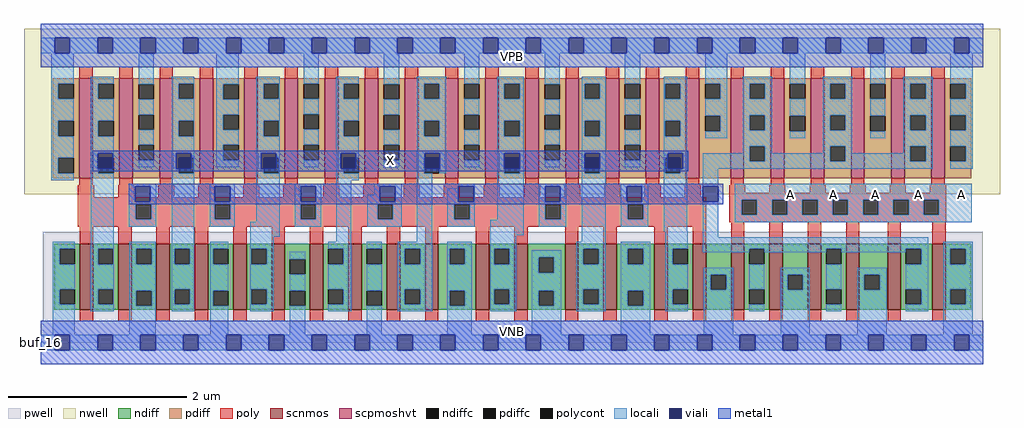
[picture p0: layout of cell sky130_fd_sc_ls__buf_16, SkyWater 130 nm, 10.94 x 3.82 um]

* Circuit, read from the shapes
.subckt sky130_fd_sc_ls__buf_16 A VGND VNB VPB VPWR X
XM1 X n1 VGND VNB sky130_fd_pr__nfet_01v8 w=0.74 l=0.15 m=16
XM2 n1 A VGND VNB sky130_fd_pr__nfet_01v8 w=0.74 l=0.15 m=6
XM3 X n1 VPWR VPB sky130_fd_pr__pfet_01v8_hvt w=1.12 l=0.15 m=16
XM4 n1 A VPWR VPB sky130_fd_pr__pfet_01v8_hvt w=1.12 l=0.15 m=6
.ends

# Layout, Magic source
magic
tech sky130A
magscale 1 2
<< nwell >>
rect -38 332 2150 704
<< pwell >>
rect 4 49 2111 248
rect 0 0 2112 49
<< scnmos >>
rect 87 74 117 222
rect 173 74 203 222
rect 259 74 289 222
rect 345 74 375 222
rect 431 74 461 222
rect 517 74 547 222
rect 603 74 633 222
rect 689 74 719 222
rect 775 74 805 222
rect 861 74 891 222
rect 975 74 1005 222
rect 1061 74 1091 222
rect 1175 74 1205 222
rect 1261 74 1291 222
rect 1375 74 1405 222
rect 1461 74 1491 222
rect 1547 74 1577 222
rect 1633 74 1663 222
rect 1719 74 1749 222
rect 1805 74 1835 222
rect 1898 74 1928 222
rect 1998 74 2028 222
<< scpmoshvt >>
rect 86 368 116 592
rect 176 368 206 592
rect 266 368 296 592
rect 356 368 386 592
rect 456 368 486 592
rect 546 368 576 592
rect 636 368 666 592
rect 726 368 756 592
rect 816 368 846 592
rect 906 368 936 592
rect 996 368 1026 592
rect 1086 368 1116 592
rect 1176 368 1206 592
rect 1266 368 1296 592
rect 1356 368 1386 592
rect 1446 368 1476 592
rect 1546 368 1576 592
rect 1636 368 1666 592
rect 1726 368 1756 592
rect 1816 368 1846 592
rect 1906 368 1936 592
rect 1996 368 2026 592
<< ndiff >>
rect 30 210 87 222
rect 30 176 42 210
rect 76 176 87 210
rect 30 120 87 176
rect 30 86 42 120
rect 76 86 87 120
rect 30 74 87 86
rect 117 210 173 222
rect 117 176 128 210
rect 162 176 173 210
rect 117 120 173 176
rect 117 86 128 120
rect 162 86 173 120
rect 117 74 173 86
rect 203 210 259 222
rect 203 176 214 210
rect 248 176 259 210
rect 203 116 259 176
rect 203 82 214 116
rect 248 82 259 116
rect 203 74 259 82
rect 289 210 345 222
rect 289 176 300 210
rect 334 176 345 210
rect 289 120 345 176
rect 289 86 300 120
rect 334 86 345 120
rect 289 74 345 86
rect 375 210 431 222
rect 375 176 386 210
rect 420 176 431 210
rect 375 116 431 176
rect 375 82 386 116
rect 420 82 431 116
rect 375 74 431 82
rect 461 210 517 222
rect 461 176 472 210
rect 506 176 517 210
rect 461 120 517 176
rect 461 86 472 120
rect 506 86 517 120
rect 461 74 517 86
rect 547 187 603 222
rect 547 153 558 187
rect 592 153 603 187
rect 547 116 603 153
rect 547 82 558 116
rect 592 82 603 116
rect 547 74 603 82
rect 633 210 689 222
rect 633 176 644 210
rect 678 176 689 210
rect 633 120 689 176
rect 633 86 644 120
rect 678 86 689 120
rect 633 74 689 86
rect 719 210 775 222
rect 719 176 730 210
rect 764 176 775 210
rect 719 116 775 176
rect 719 82 730 116
rect 764 82 775 116
rect 719 74 775 82
rect 805 210 861 222
rect 805 176 816 210
rect 850 176 861 210
rect 805 120 861 176
rect 805 86 816 120
rect 850 86 861 120
rect 805 74 861 86
rect 891 210 975 222
rect 891 176 916 210
rect 950 176 975 210
rect 891 116 975 176
rect 891 82 916 116
rect 950 82 975 116
rect 891 74 975 82
rect 1005 210 1061 222
rect 1005 176 1016 210
rect 1050 176 1061 210
rect 1005 120 1061 176
rect 1005 86 1016 120
rect 1050 86 1061 120
rect 1005 74 1061 86
rect 1091 191 1175 222
rect 1091 157 1116 191
rect 1150 157 1175 191
rect 1091 116 1175 157
rect 1091 82 1116 116
rect 1150 82 1175 116
rect 1091 74 1175 82
rect 1205 210 1261 222
rect 1205 176 1216 210
rect 1250 176 1261 210
rect 1205 120 1261 176
rect 1205 86 1216 120
rect 1250 86 1261 120
rect 1205 74 1261 86
rect 1291 210 1375 222
rect 1291 176 1316 210
rect 1350 176 1375 210
rect 1291 116 1375 176
rect 1291 82 1316 116
rect 1350 82 1375 116
rect 1291 74 1375 82
rect 1405 210 1461 222
rect 1405 176 1416 210
rect 1450 176 1461 210
rect 1405 120 1461 176
rect 1405 86 1416 120
rect 1450 86 1461 120
rect 1405 74 1461 86
rect 1491 152 1547 222
rect 1491 118 1502 152
rect 1536 118 1547 152
rect 1491 74 1547 118
rect 1577 210 1633 222
rect 1577 176 1588 210
rect 1622 176 1633 210
rect 1577 120 1633 176
rect 1577 86 1588 120
rect 1622 86 1633 120
rect 1577 74 1633 86
rect 1663 152 1719 222
rect 1663 118 1674 152
rect 1708 118 1719 152
rect 1663 74 1719 118
rect 1749 210 1805 222
rect 1749 176 1760 210
rect 1794 176 1805 210
rect 1749 120 1805 176
rect 1749 86 1760 120
rect 1794 86 1805 120
rect 1749 74 1805 86
rect 1835 152 1898 222
rect 1835 118 1846 152
rect 1880 118 1898 152
rect 1835 74 1898 118
rect 1928 210 1998 222
rect 1928 176 1939 210
rect 1973 176 1998 210
rect 1928 120 1998 176
rect 1928 86 1939 120
rect 1973 86 1998 120
rect 1928 74 1998 86
rect 2028 210 2085 222
rect 2028 176 2039 210
rect 2073 176 2085 210
rect 2028 120 2085 176
rect 2028 86 2039 120
rect 2073 86 2085 120
rect 2028 74 2085 86
<< pdiff >>
rect 27 580 86 592
rect 27 546 39 580
rect 73 546 86 580
rect 27 497 86 546
rect 27 463 39 497
rect 73 463 86 497
rect 27 414 86 463
rect 27 380 39 414
rect 73 380 86 414
rect 27 368 86 380
rect 116 580 176 592
rect 116 546 129 580
rect 163 546 176 580
rect 116 497 176 546
rect 116 463 129 497
rect 163 463 176 497
rect 116 414 176 463
rect 116 380 129 414
rect 163 380 176 414
rect 116 368 176 380
rect 206 579 266 592
rect 206 545 219 579
rect 253 545 266 579
rect 206 511 266 545
rect 206 477 219 511
rect 253 477 266 511
rect 206 443 266 477
rect 206 409 219 443
rect 253 409 266 443
rect 206 368 266 409
rect 296 580 356 592
rect 296 546 309 580
rect 343 546 356 580
rect 296 497 356 546
rect 296 463 309 497
rect 343 463 356 497
rect 296 414 356 463
rect 296 380 309 414
rect 343 380 356 414
rect 296 368 356 380
rect 386 579 456 592
rect 386 545 409 579
rect 443 545 456 579
rect 386 511 456 545
rect 386 477 409 511
rect 443 477 456 511
rect 386 443 456 477
rect 386 409 409 443
rect 443 409 456 443
rect 386 368 456 409
rect 486 580 546 592
rect 486 546 499 580
rect 533 546 546 580
rect 486 497 546 546
rect 486 463 499 497
rect 533 463 546 497
rect 486 414 546 463
rect 486 380 499 414
rect 533 380 546 414
rect 486 368 546 380
rect 576 580 636 592
rect 576 546 589 580
rect 623 546 636 580
rect 576 512 636 546
rect 576 478 589 512
rect 623 478 636 512
rect 576 443 636 478
rect 576 409 589 443
rect 623 409 636 443
rect 576 368 636 409
rect 666 580 726 592
rect 666 546 679 580
rect 713 546 726 580
rect 666 497 726 546
rect 666 463 679 497
rect 713 463 726 497
rect 666 414 726 463
rect 666 380 679 414
rect 713 380 726 414
rect 666 368 726 380
rect 756 579 816 592
rect 756 545 769 579
rect 803 545 816 579
rect 756 511 816 545
rect 756 477 769 511
rect 803 477 816 511
rect 756 443 816 477
rect 756 409 769 443
rect 803 409 816 443
rect 756 368 816 409
rect 846 580 906 592
rect 846 546 859 580
rect 893 546 906 580
rect 846 497 906 546
rect 846 463 859 497
rect 893 463 906 497
rect 846 414 906 463
rect 846 380 859 414
rect 893 380 906 414
rect 846 368 906 380
rect 936 580 996 592
rect 936 546 949 580
rect 983 546 996 580
rect 936 511 996 546
rect 936 477 949 511
rect 983 477 996 511
rect 936 443 996 477
rect 936 409 949 443
rect 983 409 996 443
rect 936 368 996 409
rect 1026 580 1086 592
rect 1026 546 1039 580
rect 1073 546 1086 580
rect 1026 497 1086 546
rect 1026 463 1039 497
rect 1073 463 1086 497
rect 1026 414 1086 463
rect 1026 380 1039 414
rect 1073 380 1086 414
rect 1026 368 1086 380
rect 1116 579 1176 592
rect 1116 545 1129 579
rect 1163 545 1176 579
rect 1116 511 1176 545
rect 1116 477 1129 511
rect 1163 477 1176 511
rect 1116 443 1176 477
rect 1116 409 1129 443
rect 1163 409 1176 443
rect 1116 368 1176 409
rect 1206 580 1266 592
rect 1206 546 1219 580
rect 1253 546 1266 580
rect 1206 497 1266 546
rect 1206 463 1219 497
rect 1253 463 1266 497
rect 1206 414 1266 463
rect 1206 380 1219 414
rect 1253 380 1266 414
rect 1206 368 1266 380
rect 1296 580 1356 592
rect 1296 546 1309 580
rect 1343 546 1356 580
rect 1296 511 1356 546
rect 1296 477 1309 511
rect 1343 477 1356 511
rect 1296 443 1356 477
rect 1296 409 1309 443
rect 1343 409 1356 443
rect 1296 368 1356 409
rect 1386 580 1446 592
rect 1386 546 1399 580
rect 1433 546 1446 580
rect 1386 497 1446 546
rect 1386 463 1399 497
rect 1433 463 1446 497
rect 1386 414 1446 463
rect 1386 380 1399 414
rect 1433 380 1446 414
rect 1386 368 1446 380
rect 1476 580 1546 592
rect 1476 546 1489 580
rect 1523 546 1546 580
rect 1476 508 1546 546
rect 1476 474 1489 508
rect 1523 474 1546 508
rect 1476 368 1546 474
rect 1576 580 1636 592
rect 1576 546 1589 580
rect 1623 546 1636 580
rect 1576 510 1636 546
rect 1576 476 1589 510
rect 1623 476 1636 510
rect 1576 440 1636 476
rect 1576 406 1589 440
rect 1623 406 1636 440
rect 1576 368 1636 406
rect 1666 580 1726 592
rect 1666 546 1679 580
rect 1713 546 1726 580
rect 1666 508 1726 546
rect 1666 474 1679 508
rect 1713 474 1726 508
rect 1666 368 1726 474
rect 1756 580 1816 592
rect 1756 546 1769 580
rect 1803 546 1816 580
rect 1756 510 1816 546
rect 1756 476 1769 510
rect 1803 476 1816 510
rect 1756 440 1816 476
rect 1756 406 1769 440
rect 1803 406 1816 440
rect 1756 368 1816 406
rect 1846 580 1906 592
rect 1846 546 1859 580
rect 1893 546 1906 580
rect 1846 508 1906 546
rect 1846 474 1859 508
rect 1893 474 1906 508
rect 1846 368 1906 474
rect 1936 580 1996 592
rect 1936 546 1949 580
rect 1983 546 1996 580
rect 1936 510 1996 546
rect 1936 476 1949 510
rect 1983 476 1996 510
rect 1936 440 1996 476
rect 1936 406 1949 440
rect 1983 406 1996 440
rect 1936 368 1996 406
rect 2026 580 2085 592
rect 2026 546 2039 580
rect 2073 546 2085 580
rect 2026 510 2085 546
rect 2026 476 2039 510
rect 2073 476 2085 510
rect 2026 440 2085 476
rect 2026 406 2039 440
rect 2073 406 2085 440
rect 2026 368 2085 406
<< ndiffc >>
rect 42 176 76 210
rect 42 86 76 120
rect 128 176 162 210
rect 128 86 162 120
rect 214 176 248 210
rect 214 82 248 116
rect 300 176 334 210
rect 300 86 334 120
rect 386 176 420 210
rect 386 82 420 116
rect 472 176 506 210
rect 472 86 506 120
rect 558 153 592 187
rect 558 82 592 116
rect 644 176 678 210
rect 644 86 678 120
rect 730 176 764 210
rect 730 82 764 116
rect 816 176 850 210
rect 816 86 850 120
rect 916 176 950 210
rect 916 82 950 116
rect 1016 176 1050 210
rect 1016 86 1050 120
rect 1116 157 1150 191
rect 1116 82 1150 116
rect 1216 176 1250 210
rect 1216 86 1250 120
rect 1316 176 1350 210
rect 1316 82 1350 116
rect 1416 176 1450 210
rect 1416 86 1450 120
rect 1502 118 1536 152
rect 1588 176 1622 210
rect 1588 86 1622 120
rect 1674 118 1708 152
rect 1760 176 1794 210
rect 1760 86 1794 120
rect 1846 118 1880 152
rect 1939 176 1973 210
rect 1939 86 1973 120
rect 2039 176 2073 210
rect 2039 86 2073 120
<< pdiffc >>
rect 39 546 73 580
rect 39 463 73 497
rect 39 380 73 414
rect 129 546 163 580
rect 129 463 163 497
rect 129 380 163 414
rect 219 545 253 579
rect 219 477 253 511
rect 219 409 253 443
rect 309 546 343 580
rect 309 463 343 497
rect 309 380 343 414
rect 409 545 443 579
rect 409 477 443 511
rect 409 409 443 443
rect 499 546 533 580
rect 499 463 533 497
rect 499 380 533 414
rect 589 546 623 580
rect 589 478 623 512
rect 589 409 623 443
rect 679 546 713 580
rect 679 463 713 497
rect 679 380 713 414
rect 769 545 803 579
rect 769 477 803 511
rect 769 409 803 443
rect 859 546 893 580
rect 859 463 893 497
rect 859 380 893 414
rect 949 546 983 580
rect 949 477 983 511
rect 949 409 983 443
rect 1039 546 1073 580
rect 1039 463 1073 497
rect 1039 380 1073 414
rect 1129 545 1163 579
rect 1129 477 1163 511
rect 1129 409 1163 443
rect 1219 546 1253 580
rect 1219 463 1253 497
rect 1219 380 1253 414
rect 1309 546 1343 580
rect 1309 477 1343 511
rect 1309 409 1343 443
rect 1399 546 1433 580
rect 1399 463 1433 497
rect 1399 380 1433 414
rect 1489 546 1523 580
rect 1489 474 1523 508
rect 1589 546 1623 580
rect 1589 476 1623 510
rect 1589 406 1623 440
rect 1679 546 1713 580
rect 1679 474 1713 508
rect 1769 546 1803 580
rect 1769 476 1803 510
rect 1769 406 1803 440
rect 1859 546 1893 580
rect 1859 474 1893 508
rect 1949 546 1983 580
rect 1949 476 1983 510
rect 1949 406 1983 440
rect 2039 546 2073 580
rect 2039 476 2073 510
rect 2039 406 2073 440
<< poly >>
rect 86 592 116 618
rect 176 592 206 618
rect 266 592 296 618
rect 356 592 386 618
rect 456 592 486 618
rect 546 592 576 618
rect 636 592 666 618
rect 726 592 756 618
rect 816 592 846 618
rect 906 592 936 618
rect 996 592 1026 618
rect 1086 592 1116 618
rect 1176 592 1206 618
rect 1266 592 1296 618
rect 1356 592 1386 618
rect 1446 592 1476 618
rect 1546 592 1576 618
rect 1636 592 1666 618
rect 1726 592 1756 618
rect 1816 592 1846 618
rect 1906 592 1936 618
rect 1996 592 2026 618
rect 86 353 116 368
rect 176 353 206 368
rect 266 353 296 368
rect 356 353 386 368
rect 456 353 486 368
rect 546 353 576 368
rect 636 353 666 368
rect 726 353 756 368
rect 816 353 846 368
rect 906 353 936 368
rect 996 353 1026 368
rect 1086 353 1116 368
rect 1176 353 1206 368
rect 1266 353 1296 368
rect 1356 353 1386 368
rect 1446 353 1476 368
rect 1546 353 1576 368
rect 1636 353 1666 368
rect 1726 353 1756 368
rect 1816 353 1846 368
rect 1906 353 1936 368
rect 1996 353 2026 368
rect 83 326 119 353
rect 173 326 209 353
rect 263 326 299 353
rect 353 326 389 353
rect 453 326 489 353
rect 543 326 579 353
rect 633 326 669 353
rect 723 326 759 353
rect 813 326 849 353
rect 903 326 939 353
rect 993 326 1029 353
rect 1083 326 1119 353
rect 1173 326 1209 353
rect 1263 326 1299 353
rect 1353 326 1389 353
rect 1443 326 1479 353
rect 1543 336 1579 353
rect 1633 336 1669 353
rect 1723 336 1759 353
rect 1813 336 1849 353
rect 1903 336 1939 353
rect 1993 336 2029 353
rect 83 310 1491 326
rect 83 276 213 310
rect 247 276 390 310
rect 424 276 582 310
rect 616 276 755 310
rect 789 276 927 310
rect 961 276 1131 310
rect 1165 276 1316 310
rect 1350 276 1491 310
rect 83 260 1491 276
rect 1543 320 2029 336
rect 1543 286 1571 320
rect 1605 286 1639 320
rect 1673 286 1707 320
rect 1741 286 1775 320
rect 1809 286 1843 320
rect 1877 286 1911 320
rect 1945 286 1979 320
rect 2013 286 2029 320
rect 1543 270 2029 286
rect 87 222 117 260
rect 173 222 203 260
rect 259 222 289 260
rect 345 222 375 260
rect 431 222 461 260
rect 517 222 547 260
rect 603 222 633 260
rect 689 222 719 260
rect 775 222 805 260
rect 861 222 891 260
rect 975 222 1005 260
rect 1061 222 1091 260
rect 1175 222 1205 260
rect 1261 222 1291 260
rect 1375 222 1405 260
rect 1461 222 1491 260
rect 1547 222 1577 270
rect 1633 222 1663 270
rect 1719 222 1749 270
rect 1805 222 1835 270
rect 1898 222 1928 270
rect 1998 222 2028 270
rect 87 48 117 74
rect 173 48 203 74
rect 259 48 289 74
rect 345 48 375 74
rect 431 48 461 74
rect 517 48 547 74
rect 603 48 633 74
rect 689 48 719 74
rect 775 48 805 74
rect 861 48 891 74
rect 975 48 1005 74
rect 1061 48 1091 74
rect 1175 48 1205 74
rect 1261 48 1291 74
rect 1375 48 1405 74
rect 1461 48 1491 74
rect 1547 48 1577 74
rect 1633 48 1663 74
rect 1719 48 1749 74
rect 1805 48 1835 74
rect 1898 48 1928 74
rect 1998 48 2028 74
<< polycont >>
rect 213 276 247 310
rect 390 276 424 310
rect 582 276 616 310
rect 755 276 789 310
rect 927 276 961 310
rect 1131 276 1165 310
rect 1316 276 1350 310
rect 1571 286 1605 320
rect 1639 286 1673 320
rect 1707 286 1741 320
rect 1775 286 1809 320
rect 1843 286 1877 320
rect 1911 286 1945 320
rect 1979 286 2013 320
<< locali >>
rect 0 649 31 683
rect 65 649 127 683
rect 161 649 223 683
rect 257 649 319 683
rect 353 649 415 683
rect 449 649 511 683
rect 545 649 607 683
rect 641 649 703 683
rect 737 649 799 683
rect 833 649 895 683
rect 929 649 991 683
rect 1025 649 1087 683
rect 1121 649 1183 683
rect 1217 649 1279 683
rect 1313 649 1375 683
rect 1409 649 1471 683
rect 1505 649 1567 683
rect 1601 649 1663 683
rect 1697 649 1759 683
rect 1793 649 1855 683
rect 1889 649 1951 683
rect 1985 649 2047 683
rect 2081 649 2112 683
rect 23 580 73 649
rect 23 546 39 580
rect 23 497 73 546
rect 23 463 39 497
rect 23 414 73 463
rect 23 380 39 414
rect 23 364 73 380
rect 112 580 163 596
rect 112 546 129 580
rect 112 497 163 546
rect 112 463 129 497
rect 112 424 163 463
rect 112 390 127 424
rect 161 414 163 424
rect 219 579 253 649
rect 219 511 253 545
rect 219 443 253 477
rect 219 393 253 409
rect 293 580 344 596
rect 293 546 309 580
rect 343 546 344 580
rect 293 497 344 546
rect 293 463 309 497
rect 343 463 344 497
rect 293 424 344 463
rect 112 380 129 390
rect 26 210 76 226
rect 26 176 42 210
rect 26 120 76 176
rect 26 86 42 120
rect 26 17 76 86
rect 112 210 163 380
rect 293 390 303 424
rect 337 414 344 424
rect 293 380 309 390
rect 343 380 344 414
rect 393 579 443 649
rect 393 545 409 579
rect 393 511 443 545
rect 393 477 409 511
rect 393 443 443 477
rect 393 409 409 443
rect 393 393 443 409
rect 483 580 535 596
rect 483 546 499 580
rect 533 546 535 580
rect 483 497 535 546
rect 483 463 499 497
rect 533 463 535 497
rect 483 424 535 463
rect 197 350 259 356
rect 197 316 211 350
rect 245 316 259 350
rect 197 310 259 316
rect 197 276 213 310
rect 247 276 259 310
rect 197 260 259 276
rect 112 176 128 210
rect 162 176 163 210
rect 112 120 163 176
rect 112 86 128 120
rect 162 86 163 120
rect 112 70 163 86
rect 198 210 257 226
rect 198 176 214 210
rect 248 176 257 210
rect 198 116 257 176
rect 198 82 214 116
rect 248 82 257 116
rect 198 17 257 82
rect 293 210 344 380
rect 483 390 494 424
rect 528 414 535 424
rect 483 380 499 390
rect 533 380 535 414
rect 589 580 623 649
rect 589 512 623 546
rect 589 443 623 478
rect 589 393 623 409
rect 662 580 713 596
rect 662 546 679 580
rect 662 497 713 546
rect 662 463 679 497
rect 662 424 713 463
rect 378 350 435 356
rect 378 316 390 350
rect 424 316 435 350
rect 378 310 435 316
rect 378 276 390 310
rect 424 276 435 310
rect 378 260 435 276
rect 483 271 535 380
rect 662 390 672 424
rect 706 414 713 424
rect 769 579 803 649
rect 769 511 803 545
rect 769 443 803 477
rect 769 393 803 409
rect 843 580 909 596
rect 843 546 859 580
rect 893 546 909 580
rect 843 497 909 546
rect 843 463 859 497
rect 893 463 909 497
rect 843 424 909 463
rect 843 414 860 424
rect 662 380 679 390
rect 662 364 713 380
rect 843 380 859 414
rect 894 390 909 424
rect 949 580 983 649
rect 949 511 983 546
rect 949 443 983 477
rect 949 393 983 409
rect 1023 580 1082 596
rect 1023 546 1039 580
rect 1073 546 1082 580
rect 1023 497 1082 546
rect 1023 463 1039 497
rect 1073 463 1082 497
rect 1023 424 1082 463
rect 893 380 909 390
rect 1023 380 1039 424
rect 1073 380 1082 424
rect 1129 579 1163 649
rect 1129 511 1163 545
rect 1129 443 1163 477
rect 1129 393 1163 409
rect 1212 580 1266 596
rect 1212 546 1219 580
rect 1253 546 1266 580
rect 1212 497 1266 546
rect 1212 463 1219 497
rect 1253 463 1266 497
rect 1212 424 1266 463
rect 469 237 535 271
rect 569 350 628 356
rect 569 316 582 350
rect 616 316 628 350
rect 569 310 628 316
rect 569 276 582 310
rect 616 276 628 310
rect 569 260 628 276
rect 293 176 300 210
rect 334 176 344 210
rect 293 120 344 176
rect 293 86 300 120
rect 334 86 344 120
rect 293 70 344 86
rect 379 210 420 226
rect 379 176 386 210
rect 379 116 420 176
rect 379 82 386 116
rect 379 17 420 82
rect 469 210 522 237
rect 662 226 696 364
rect 747 350 809 356
rect 747 331 760 350
rect 731 316 760 331
rect 794 316 809 350
rect 731 310 809 316
rect 731 276 755 310
rect 789 276 809 310
rect 731 260 809 276
rect 843 226 877 380
rect 935 350 973 356
rect 935 346 936 350
rect 911 316 936 346
rect 970 316 973 350
rect 911 310 973 316
rect 911 276 927 310
rect 961 276 973 310
rect 911 260 973 276
rect 1023 275 1082 380
rect 1212 380 1219 424
rect 1253 380 1266 424
rect 1309 580 1343 649
rect 1309 511 1343 546
rect 1309 443 1343 477
rect 1309 393 1343 409
rect 1396 580 1449 596
rect 1396 546 1399 580
rect 1433 546 1449 580
rect 1396 497 1449 546
rect 1396 463 1399 497
rect 1433 463 1449 497
rect 1396 424 1449 463
rect 1489 580 1539 649
rect 1523 546 1539 580
rect 1489 508 1539 546
rect 1523 474 1539 508
rect 1489 458 1539 474
rect 1573 580 1639 596
rect 1573 546 1589 580
rect 1623 546 1639 580
rect 1573 510 1639 546
rect 1573 476 1589 510
rect 1623 476 1639 510
rect 1573 440 1639 476
rect 1679 580 1713 649
rect 1679 508 1713 546
rect 1679 458 1713 474
rect 1753 580 1819 596
rect 1753 546 1769 580
rect 1803 546 1819 580
rect 1753 510 1819 546
rect 1753 476 1769 510
rect 1803 476 1819 510
rect 1573 424 1589 440
rect 1396 414 1405 424
rect 1007 241 1082 275
rect 1116 350 1178 356
rect 1116 316 1130 350
rect 1164 316 1178 350
rect 1116 310 1178 316
rect 1116 276 1131 310
rect 1165 276 1178 310
rect 1116 260 1178 276
rect 469 176 472 210
rect 506 176 522 210
rect 644 210 696 226
rect 469 120 522 176
rect 469 86 472 120
rect 506 86 522 120
rect 469 70 522 86
rect 558 187 592 203
rect 558 116 592 153
rect 558 17 592 82
rect 678 176 696 210
rect 644 120 696 176
rect 678 86 696 120
rect 644 70 696 86
rect 730 210 764 226
rect 730 116 764 176
rect 730 17 764 82
rect 800 210 877 226
rect 800 176 816 210
rect 850 176 877 210
rect 800 120 877 176
rect 800 86 816 120
rect 850 86 877 120
rect 800 70 877 86
rect 911 210 966 226
rect 911 176 916 210
rect 950 176 966 210
rect 911 116 966 176
rect 911 82 916 116
rect 950 82 966 116
rect 911 17 966 82
rect 1007 210 1066 241
rect 1212 226 1266 380
rect 1396 380 1399 414
rect 1439 390 1449 424
rect 1433 380 1449 390
rect 1300 350 1362 356
rect 1300 316 1313 350
rect 1347 316 1362 350
rect 1300 310 1362 316
rect 1300 276 1316 310
rect 1350 276 1362 310
rect 1300 260 1362 276
rect 1396 250 1449 380
rect 1484 406 1589 424
rect 1623 424 1639 440
rect 1753 440 1819 476
rect 1859 580 1893 649
rect 1859 508 1893 546
rect 1859 458 1893 474
rect 1933 580 1999 596
rect 1933 546 1949 580
rect 1983 546 1999 580
rect 1933 510 1999 546
rect 1933 476 1949 510
rect 1983 476 1999 510
rect 1753 424 1769 440
rect 1623 406 1769 424
rect 1803 424 1819 440
rect 1933 440 1999 476
rect 1933 424 1949 440
rect 1803 406 1949 424
rect 1983 406 1999 440
rect 1484 390 1999 406
rect 2039 580 2089 649
rect 2073 546 2089 580
rect 2039 510 2089 546
rect 2073 476 2089 510
rect 2039 440 2089 476
rect 2073 406 2089 440
rect 2039 390 2089 406
rect 1484 350 1518 390
rect 1007 176 1016 210
rect 1050 176 1066 210
rect 1200 210 1266 226
rect 1007 120 1066 176
rect 1007 86 1016 120
rect 1050 86 1066 120
rect 1007 70 1066 86
rect 1100 191 1166 207
rect 1100 157 1116 191
rect 1150 157 1166 191
rect 1100 116 1166 157
rect 1100 82 1116 116
rect 1150 82 1166 116
rect 1100 17 1166 82
rect 1200 176 1216 210
rect 1250 176 1266 210
rect 1200 120 1266 176
rect 1200 86 1216 120
rect 1250 86 1266 120
rect 1200 70 1266 86
rect 1300 210 1366 226
rect 1300 176 1316 210
rect 1350 176 1366 210
rect 1300 116 1366 176
rect 1300 82 1316 116
rect 1350 82 1366 116
rect 1300 17 1366 82
rect 1400 210 1450 250
rect 1400 176 1416 210
rect 1484 236 1518 316
rect 1555 320 2087 356
rect 1555 286 1571 320
rect 1605 286 1639 320
rect 1673 286 1707 320
rect 1741 286 1775 320
rect 1809 286 1843 320
rect 1877 286 1911 320
rect 1945 286 1979 320
rect 2013 286 2087 320
rect 1555 270 2087 286
rect 1484 210 1989 236
rect 1484 202 1588 210
rect 1400 120 1450 176
rect 1622 202 1760 210
rect 1400 86 1416 120
rect 1400 70 1450 86
rect 1486 152 1552 168
rect 1486 118 1502 152
rect 1536 118 1552 152
rect 1486 17 1552 118
rect 1588 120 1622 176
rect 1794 202 1939 210
rect 1588 70 1622 86
rect 1658 152 1724 168
rect 1658 118 1674 152
rect 1708 118 1724 152
rect 1658 17 1724 118
rect 1760 120 1794 176
rect 1973 176 1989 210
rect 1760 70 1794 86
rect 1830 152 1896 168
rect 1830 118 1846 152
rect 1880 118 1896 152
rect 1830 17 1896 118
rect 1939 120 1989 176
rect 1973 86 1989 120
rect 1939 70 1989 86
rect 2023 210 2089 226
rect 2023 176 2039 210
rect 2073 176 2089 210
rect 2023 120 2089 176
rect 2023 86 2039 120
rect 2073 86 2089 120
rect 2023 17 2089 86
rect 0 -17 31 17
rect 65 -17 127 17
rect 161 -17 223 17
rect 257 -17 319 17
rect 353 -17 415 17
rect 449 -17 511 17
rect 545 -17 607 17
rect 641 -17 703 17
rect 737 -17 799 17
rect 833 -17 895 17
rect 929 -17 991 17
rect 1025 -17 1087 17
rect 1121 -17 1183 17
rect 1217 -17 1279 17
rect 1313 -17 1375 17
rect 1409 -17 1471 17
rect 1505 -17 1567 17
rect 1601 -17 1663 17
rect 1697 -17 1759 17
rect 1793 -17 1855 17
rect 1889 -17 1951 17
rect 1985 -17 2047 17
rect 2081 -17 2112 17
<< viali >>
rect 31 649 65 683
rect 127 649 161 683
rect 223 649 257 683
rect 319 649 353 683
rect 415 649 449 683
rect 511 649 545 683
rect 607 649 641 683
rect 703 649 737 683
rect 799 649 833 683
rect 895 649 929 683
rect 991 649 1025 683
rect 1087 649 1121 683
rect 1183 649 1217 683
rect 1279 649 1313 683
rect 1375 649 1409 683
rect 1471 649 1505 683
rect 1567 649 1601 683
rect 1663 649 1697 683
rect 1759 649 1793 683
rect 1855 649 1889 683
rect 1951 649 1985 683
rect 2047 649 2081 683
rect 127 414 161 424
rect 127 390 129 414
rect 129 390 161 414
rect 303 414 337 424
rect 303 390 309 414
rect 309 390 337 414
rect 211 316 245 350
rect 494 414 528 424
rect 494 390 499 414
rect 499 390 528 414
rect 390 316 424 350
rect 672 414 706 424
rect 672 390 679 414
rect 679 390 706 414
rect 860 414 894 424
rect 860 390 893 414
rect 893 390 894 414
rect 1039 414 1073 424
rect 1039 390 1073 414
rect 582 316 616 350
rect 760 316 794 350
rect 936 316 970 350
rect 1219 414 1253 424
rect 1219 390 1253 414
rect 1405 414 1439 424
rect 1130 316 1164 350
rect 1405 390 1433 414
rect 1433 390 1439 414
rect 1313 316 1347 350
rect 1484 316 1518 350
rect 31 -17 65 17
rect 127 -17 161 17
rect 223 -17 257 17
rect 319 -17 353 17
rect 415 -17 449 17
rect 511 -17 545 17
rect 607 -17 641 17
rect 703 -17 737 17
rect 799 -17 833 17
rect 895 -17 929 17
rect 991 -17 1025 17
rect 1087 -17 1121 17
rect 1183 -17 1217 17
rect 1279 -17 1313 17
rect 1375 -17 1409 17
rect 1471 -17 1505 17
rect 1567 -17 1601 17
rect 1663 -17 1697 17
rect 1759 -17 1793 17
rect 1855 -17 1889 17
rect 1951 -17 1985 17
rect 2047 -17 2081 17
<< metal1 >>
rect 0 683 2112 715
rect 0 649 31 683
rect 65 649 127 683
rect 161 649 223 683
rect 257 649 319 683
rect 353 649 415 683
rect 449 649 511 683
rect 545 649 607 683
rect 641 649 703 683
rect 737 649 799 683
rect 833 649 895 683
rect 929 649 991 683
rect 1025 649 1087 683
rect 1121 649 1183 683
rect 1217 649 1279 683
rect 1313 649 1375 683
rect 1409 649 1471 683
rect 1505 649 1567 683
rect 1601 649 1663 683
rect 1697 649 1759 683
rect 1793 649 1855 683
rect 1889 649 1951 683
rect 1985 649 2047 683
rect 2081 649 2112 683
rect 0 617 2112 649
rect 115 424 1451 430
rect 115 390 127 424
rect 161 390 303 424
rect 337 390 494 424
rect 528 390 672 424
rect 706 390 860 424
rect 894 390 1039 424
rect 1073 390 1219 424
rect 1253 390 1405 424
rect 1439 390 1451 424
rect 115 384 1451 390
rect 197 350 1530 356
rect 197 316 211 350
rect 245 316 390 350
rect 424 316 582 350
rect 616 316 760 350
rect 794 316 936 350
rect 970 316 1130 350
rect 1164 316 1313 350
rect 1347 316 1484 350
rect 1518 316 1530 350
rect 197 310 1530 316
rect 0 17 2112 49
rect 0 -17 31 17
rect 65 -17 127 17
rect 161 -17 223 17
rect 257 -17 319 17
rect 353 -17 415 17
rect 449 -17 511 17
rect 545 -17 607 17
rect 641 -17 703 17
rect 737 -17 799 17
rect 833 -17 895 17
rect 929 -17 991 17
rect 1025 -17 1087 17
rect 1121 -17 1183 17
rect 1217 -17 1279 17
rect 1313 -17 1375 17
rect 1409 -17 1471 17
rect 1505 -17 1567 17
rect 1601 -17 1663 17
rect 1697 -17 1759 17
rect 1793 -17 1855 17
rect 1889 -17 1951 17
rect 1985 -17 2047 17
rect 2081 -17 2112 17
rect 0 -49 2112 -17
<< labels >>
rlabel comment s 0 0 0 0 4 buf_16
flabel pwell s 0 0 2112 49 0 FreeSans 200 0 0 0 VNB
port 3 nsew ground bidirectional
flabel nwell s 0 617 2112 666 0 FreeSans 200 0 0 0 VPB
port 4 nsew power bidirectional
flabel metal1 s 115 384 1451 430 0 FreeSans 400 0 0 0 X
port 6 nsew signal output
flabel metal1 s 0 617 2112 666 0 FreeSans 340 0 0 0 VPWR
port 5 nsew power bidirectional abutment
flabel metal1 s 0 0 2112 49 0 FreeSans 340 0 0 0 VGND
port 2 nsew ground bidirectional abutment
flabel locali s 1663 316 1697 350 0 FreeSans 340 0 0 0 A
port 1 nsew signal input
flabel locali s 1759 316 1793 350 0 FreeSans 340 0 0 0 A
port 1 nsew signal input
flabel locali s 1855 316 1889 350 0 FreeSans 340 0 0 0 A
port 1 nsew signal input
flabel locali s 1951 316 1985 350 0 FreeSans 340 0 0 0 A
port 1 nsew signal input
flabel locali s 2047 316 2081 350 0 FreeSans 340 0 0 0 A
port 1 nsew signal input
<< properties >>
string LEFsite unit
string LEFclass CORE
string FIXED_BBOX 0 0 2112 666
string GDS_FILE $PDKPATH/libs.ref/sky130_fd_sc_ls/gds/sky130_fd_sc_ls.gds
string LEFsymmetry X Y
string GDS_END 3019152
string GDS_START 3000672
<< end >>
